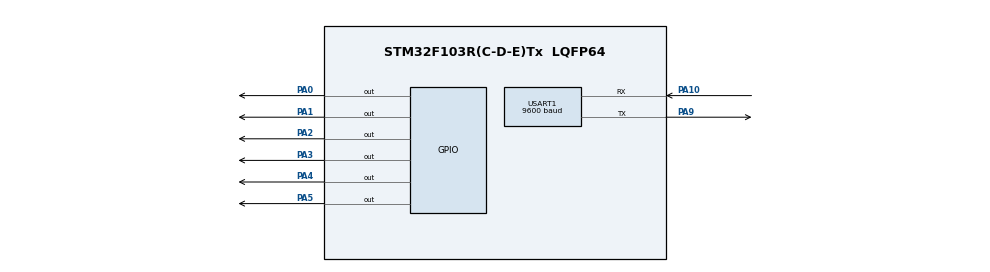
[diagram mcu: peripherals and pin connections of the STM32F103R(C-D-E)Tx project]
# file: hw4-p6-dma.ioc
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Dma.Request0=USART1_RX
Dma.USART1_RX.0.Direction=DMA_PERIPH_TO_MEMORY
Dma.USART1_RX.0.Instance=DMA1_Channel5
Dma.USART1_RX.0.MemDataAlignment=DMA_MDATAALIGN_BYTE
Dma.USART1_RX.0.MemInc=DMA_MINC_ENABLE
Dma.USART1_RX.0.Mode=DMA_NORMAL
Dma.USART1_RX.0.PeriphDataAlignment=DMA_PDATAALIGN_BYTE
Dma.USART1_RX.0.PeriphInc=DMA_PINC_DISABLE
Dma.USART1_RX.0.Priority=DMA_PRIORITY_LOW
Mcu.Family=STM32F1
Mcu.Name=STM32F103R(C-D-E)Tx
Mcu.Package=LQFP64
NVIC.DMA1_Channel5_IRQn=true\:0\:0\:false\:false\:true\:false\:true\:true
NVIC.PriorityGroup=NVIC_PRIORITYGROUP_4
NVIC.USART1_IRQn=true\:0\:0\:false\:false\:true\:true\:true\:true
PA0-WKUP.Signal=GPIO_Output
PA1.Signal=GPIO_Output
PA10.Mode=Asynchronous
PA10.Signal=USART1_RX
PA13.Mode=Serial_Wire
PA13.Signal=SYS_JTMS-SWDIO
PA14.Mode=Serial_Wire
PA14.Signal=SYS_JTCK-SWCLK
PA2.Signal=GPIO_Output
PA3.Signal=GPIO_Output
PA4.Signal=GPIO_Output
PA5.Signal=GPIO_Output
PA9.Mode=Asynchronous
PA9.Signal=USART1_TX
PD0-OSC_IN.Mode=HSE-External-Oscillator
PD0-OSC_IN.Signal=RCC_OSC_IN
PD1-OSC_OUT.Mode=HSE-External-Oscillator
PD1-OSC_OUT.Signal=RCC_OSC_OUT
ProjectManager.HeapSize=0x200
ProjectManager.StackSize=0x400
ProjectManager.TargetToolchain=MDK-ARM V5.32
RCC.APB1Freq_Value=8000000
RCC.APB2Freq_Value=8000000
USART1.BaudRate=9600
USART1.VirtualMode=VM_ASYNC
board=custom

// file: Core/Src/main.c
/* USER CODE BEGIN Header */
/**
  ******************************************************************************
  * @file           : main.c
  * @brief          : Main program body
  ******************************************************************************
  * @attention
  *
  * Copyright (c) 2026 STMicroelectronics.
  * All rights reserved.
  *
  * This software is licensed under terms that can be found in the LICENSE file
  * in the root directory of this software component.
  * If no LICENSE file comes with this software, it is provided AS-IS.
  *
  ******************************************************************************
  */
/* USER CODE END Header */
#include "main.h"

/* USER CODE BEGIN Includes */
#include "lcd.h"
#include <stdio.h>
#include <string.h>
/* USER CODE END Includes */

/* USER CODE BEGIN PTD */
#define LCD_D4_PORT GPIOA
#define LCD_D4_PIN  GPIO_PIN_0
#define LCD_D5_PORT GPIOA
#define LCD_D5_PIN  GPIO_PIN_1
#define LCD_D6_PORT GPIOA
#define LCD_D6_PIN  GPIO_PIN_2
#define LCD_D7_PORT GPIOA
#define LCD_D7_PIN  GPIO_PIN_3

#define LCD_RS_PORT GPIOA
#define LCD_RS_PIN  GPIO_PIN_4
#define LCD_EN_PORT GPIOA
#define LCD_EN_PIN  GPIO_PIN_5
/* USER CODE END PTD */

UART_HandleTypeDef huart1;
DMA_HandleTypeDef hdma_usart1_rx;

/* USER CODE BEGIN PV */
Lcd_HandleTypeDef mylcd;
char rx_buffer[20]; // We will tell MATLAB to always send exactly 20 characters
volatile uint8_t dma_ready = 0;
char lcd_display[16];
/* USER CODE END PV */

void SystemClock_Config(void);
static void MX_GPIO_Init(void);
static void MX_DMA_Init(void);
static void MX_USART1_UART_Init(void);

/* USER CODE BEGIN 0 */
void HAL_UART_RxCpltCallback(UART_HandleTypeDef *huart)
{
    if (huart->Instance == USART1)
    {
        dma_ready = 1; // Raise the flag!
    }
}
/* USER CODE END 0 */

int main(void)
{

  /* MCU Configuration--------------------------------------------------------*/

  /* Reset of all peripherals, Initializes the Flash interface and the Systick. */
  HAL_Init();

  /* Configure the system clock */
  SystemClock_Config();

  /* Initialize all configured peripherals */
  MX_GPIO_Init();
  MX_DMA_Init();
  MX_USART1_UART_Init();
  /* USER CODE BEGIN 2 */
Lcd_PortType lcd_ports[] = {LCD_D4_PORT, LCD_D5_PORT, LCD_D6_PORT, LCD_D7_PORT};
Lcd_PinType  lcd_pins[]  = {LCD_D4_PIN, LCD_D5_PIN, LCD_D6_PIN, LCD_D7_PIN};

mylcd = Lcd_create(lcd_ports, lcd_pins, LCD_RS_PORT, LCD_RS_PIN, LCD_EN_PORT, LCD_EN_PIN, LCD_4_BIT_MODE);

HAL_Delay(100);
Lcd_clear(&mylcd);
Lcd_cursor(&mylcd, 0, 0);
Lcd_string(&mylcd, "Waiting for");
Lcd_cursor(&mylcd, 1, 0);
Lcd_string(&mylcd, "MATLAB (DMA)...");

// Clear any hardware errors before we start
__HAL_UART_CLEAR_OREFLAG(&huart1);
__HAL_UART_FLUSH_DRREGISTER(&huart1);

for (int name_count = 1; name_count <= 10; name_count++)
{
    dma_ready = 0;
    memset(rx_buffer, 0, sizeof(rx_buffer));

    HAL_UART_Receive_DMA(&huart1, (uint8_t*)rx_buffer, 20);

    while (dma_ready == 0)
    {
        // Waiting...
    }

    // DMA is done! Display the name.
    Lcd_clear(&mylcd);

    sprintf(lcd_display, "Name %d/10:", name_count);
    Lcd_cursor(&mylcd, 0, 0);
    Lcd_string(&mylcd, lcd_display);

    Lcd_cursor(&mylcd, 1, 0);
    Lcd_string(&mylcd, rx_buffer);

    // Wait so you can read it on the screen
    HAL_Delay(1500);

    // Flush the register again just in case MATLAB sent extra garbage data
    __HAL_UART_CLEAR_OREFLAG(&huart1);
    __HAL_UART_FLUSH_DRREGISTER(&huart1);
}

// Finished
Lcd_clear(&mylcd);
Lcd_cursor(&mylcd, 0, 0);
Lcd_string(&mylcd, "All 10 Names");
Lcd_cursor(&mylcd, 1, 0);
Lcd_string(&mylcd, "DMA Success!  ");
/* USER CODE END 2 */

  /* Infinite loop */
  while (1)
  {

  }
}

void SystemClock_Config(void)
{
  RCC_OscInitTypeDef RCC_OscInitStruct = {0};
  RCC_ClkInitTypeDef RCC_ClkInitStruct = {0};

  /** Initializes the RCC Oscillators according to the specified parameters
  * in the RCC_OscInitTypeDef structure.
  */
  RCC_OscInitStruct.OscillatorType = RCC_OSCILLATORTYPE_HSI;
  RCC_OscInitStruct.HSIState = RCC_HSI_ON;
  RCC_OscInitStruct.HSICalibrationValue = RCC_HSICALIBRATION_DEFAULT;
  RCC_OscInitStruct.PLL.PLLState = RCC_PLL_NONE;
  if (HAL_RCC_OscConfig(&RCC_OscInitStruct) != HAL_OK)
  {
    Error_Handler();
  }

  /** Initializes the CPU, AHB and APB buses clocks
  */
  RCC_ClkInitStruct.ClockType = RCC_CLOCKTYPE_HCLK|RCC_CLOCKTYPE_SYSCLK
                              |RCC_CLOCKTYPE_PCLK1|RCC_CLOCKTYPE_PCLK2;
  RCC_ClkInitStruct.SYSCLKSource = RCC_SYSCLKSOURCE_HSI;
  RCC_ClkInitStruct.AHBCLKDivider = RCC_SYSCLK_DIV1;
  RCC_ClkInitStruct.APB1CLKDivider = RCC_HCLK_DIV1;
  RCC_ClkInitStruct.APB2CLKDivider = RCC_HCLK_DIV1;

  if (HAL_RCC_ClockConfig(&RCC_ClkInitStruct, FLASH_LATENCY_0) != HAL_OK)
  {
    Error_Handler();
  }
}

static void MX_USART1_UART_Init(void)
{

  huart1.Instance = USART1;
  huart1.Init.BaudRate = 9600;
  huart1.Init.WordLength = UART_WORDLENGTH_8B;
  huart1.Init.StopBits = UART_STOPBITS_1;
  huart1.Init.Parity = UART_PARITY_NONE;
  huart1.Init.Mode = UART_MODE_TX_RX;
  huart1.Init.HwFlowCtl = UART_HWCONTROL_NONE;
  huart1.Init.OverSampling = UART_OVERSAMPLING_16;
  if (HAL_UART_Init(&huart1) != HAL_OK)
  {
    Error_Handler();
  }

}

static void MX_DMA_Init(void)
{

  /* DMA controller clock enable */
  __HAL_RCC_DMA1_CLK_ENABLE();

  /* DMA interrupt init */
  /* DMA1_Channel5_IRQn interrupt configuration */
  HAL_NVIC_SetPriority(DMA1_Channel5_IRQn, 0, 0);
  HAL_NVIC_EnableIRQ(DMA1_Channel5_IRQn);

}

static void MX_GPIO_Init(void)
{
  GPIO_InitTypeDef GPIO_InitStruct = {0};

  /* GPIO Ports Clock Enable */
  __HAL_RCC_GPIOD_CLK_ENABLE();
  __HAL_RCC_GPIOA_CLK_ENABLE();

  /*Configure GPIO pin Output Level */
  HAL_GPIO_WritePin(GPIOA, GPIO_PIN_0|GPIO_PIN_1|GPIO_PIN_2|GPIO_PIN_3
                          |GPIO_PIN_4|GPIO_PIN_5, GPIO_PIN_RESET);

  /*Configure GPIO pins : PA0 PA1 PA2 PA3
                           PA4 PA5 */
  GPIO_InitStruct.Pin = GPIO_PIN_0|GPIO_PIN_1|GPIO_PIN_2|GPIO_PIN_3
                          |GPIO_PIN_4|GPIO_PIN_5;
  GPIO_InitStruct.Mode = GPIO_MODE_OUTPUT_PP;
  GPIO_InitStruct.Pull = GPIO_NOPULL;
  GPIO_InitStruct.Speed = GPIO_SPEED_FREQ_LOW;
  HAL_GPIO_Init(GPIOA, &GPIO_InitStruct);

}

void Error_Handler(void)
{
  __disable_irq();
  while (1)
  {
  }
}
